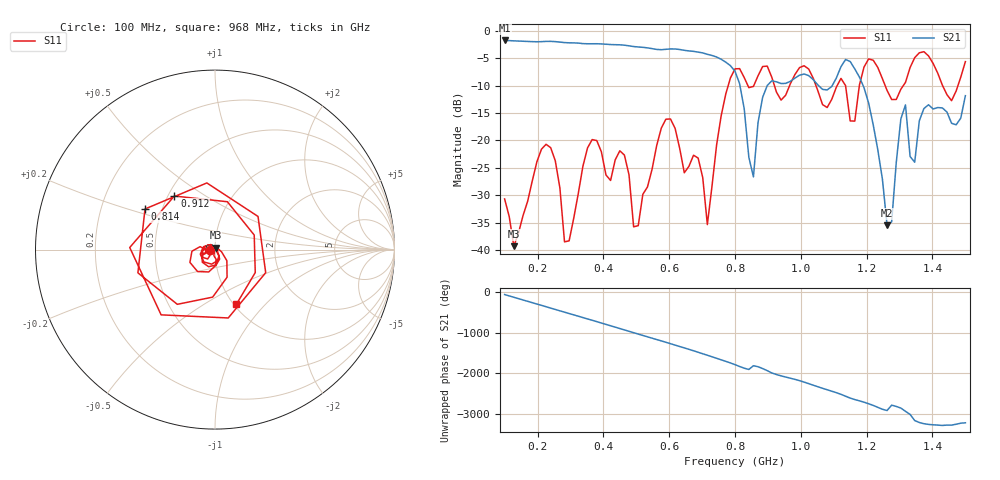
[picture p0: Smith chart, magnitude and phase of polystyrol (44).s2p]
! NanoVNA-App
! Date: 2025-09-26 09:42:13
! Start: 100MHz Stop: 1,5GHz Points: 101
! S-Parameter data: F S11 S21 S12 S22
# Hz S RI R 50
!  Frequency  S11_Real  S11_Imag  S21_Real  S21_Imag  S12_Real  S12_Imag  S22_Real  S22_Imag
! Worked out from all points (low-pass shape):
!   101 points, 100 MHz to 1.5 GHz, reference 50 ohm
!   highest |S21| = -1.79 dB at 100 MHz (marker M1); lowest = -35.5 dB at 1.262 GHz (marker M2)
!   |S21| within 3 dB of the highest: start of sweep to 743.4 MHz
!   lowest |S11| = -39.3 dB at 128 MHz (marker M3), VSWR 1.02, Z = 50.3 + j1.06 ohm
!   |S11| at or under -10 dB: start of sweep to 779.4 MHz; 1.046 GHz to 1.111 GHz (64.63 MHz wide, 5.99 % of centre); 1.256 GHz to 1.311 GHz (55.33 MHz wide, 4.31 % of centre)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
!   S12 and S22 are empty: the file has one direction only
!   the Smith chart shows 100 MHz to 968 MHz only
!   S11 on the Smith chart (normalised r, x): 100 MHz: 0.94, -0.01; 814 MHz: 0.40, +0.23; 912 MHz: 0.54, +0.37; 968 MHz: 1.03, -0.70
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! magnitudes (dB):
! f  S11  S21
! 100 MHz  -30.7  -1.8
! 128 MHz  -39.3  -1.9
! 212 MHz  -21.6  -2.0
! 282 MHz  -38.5  -2.2
! 338 MHz  -24.7  -2.4
! 464 MHz  -22.7  -2.7
! 506 MHz  -35.5  -3.0
! 576 MHz  -17.8  -3.5
! 688 MHz  -23.2  -3.9
! 716 MHz  -35.3  -4.3
! 800 MHz  -7.0  -7.4
! 814 MHz  -6.9  -9.7
! 856 MHz  -10.2  -26.6
! 912 MHz  -8.5  -9.1
! 968 MHz  -9.7  -9.2
! 1.038 GHz  -8.7  -8.9
! 1.178 GHz  -9.9  -8.5
! 1.262 GHz  -10.9  -35.5
! 1.276 GHz  -12.5  -34.8
! 1.318 GHz  -9.4  -13.5
! 1.346 GHz  -4.9  -24.0
! 1.5 GHz  -5.6  -11.8
